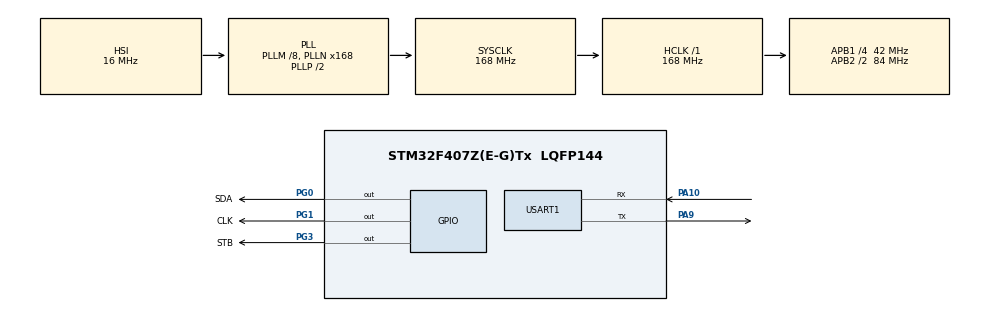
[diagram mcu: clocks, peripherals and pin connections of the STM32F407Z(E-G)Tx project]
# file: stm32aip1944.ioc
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Mcu.Family=STM32F4
Mcu.Name=STM32F407Z(E-G)Tx
Mcu.Package=LQFP144
NVIC.PriorityGroup=NVIC_PRIORITYGROUP_4
PA10.Mode=Asynchronous
PA10.Signal=USART1_RX
PA13.Mode=Serial_Wire
PA13.Signal=SYS_JTMS-SWDIO
PA14.Mode=Serial_Wire
PA14.Signal=SYS_JTCK-SWCLK
PA9.Mode=Asynchronous
PA9.Signal=USART1_TX
PG0.GPIO_Label=SDA
PG0.GPIO_ModeDefaultOutputPP=GPIO_MODE_OUTPUT_OD
PG0.GPIO_PuPd=GPIO_NOPULL
PG0.GPIO_Speed=GPIO_SPEED_FREQ_VERY_HIGH
PG0.PinState=GPIO_PIN_RESET
PG0.Signal=GPIO_Output
PG1.GPIO_Label=CLK
PG1.GPIO_ModeDefaultOutputPP=GPIO_MODE_OUTPUT_OD
PG1.GPIO_PuPd=GPIO_NOPULL
PG1.GPIO_Speed=GPIO_SPEED_FREQ_VERY_HIGH
PG1.PinState=GPIO_PIN_RESET
PG1.Signal=GPIO_Output
PG3.GPIO_Label=STB
PG3.GPIO_ModeDefaultOutputPP=GPIO_MODE_OUTPUT_OD
PG3.GPIO_PuPd=GPIO_NOPULL
PG3.GPIO_Speed=GPIO_SPEED_FREQ_VERY_HIGH
PG3.Signal=GPIO_Output
PH0-OSC_IN.Mode=HSE-External-Oscillator
PH0-OSC_IN.Signal=RCC_OSC_IN
PH1-OSC_OUT.Mode=HSE-External-Oscillator
PH1-OSC_OUT.Signal=RCC_OSC_OUT
ProjectManager.HeapSize=0x200
ProjectManager.StackSize=0x400
ProjectManager.TargetToolchain=MDK-ARM V5.32
RCC.48MHZClocksFreq_Value=84000000
RCC.AHBFreq_Value=168000000
RCC.APB1CLKDivider=RCC_HCLK_DIV4
RCC.APB1Freq_Value=42000000
RCC.APB1TimFreq_Value=84000000
RCC.APB2CLKDivider=RCC_HCLK_DIV2
RCC.APB2Freq_Value=84000000
RCC.APB2TimFreq_Value=168000000
RCC.CortexFreq_Value=168000000
RCC.HCLKFreq_Value=168000000
RCC.HSE_VALUE=25000000
RCC.HSI_VALUE=16000000
RCC.LSE_VALUE=32768
RCC.PLLM=8
RCC.PLLN=168
RCC.SYSCLKFreq_VALUE=168000000
RCC.SYSCLKSource=RCC_SYSCLKSOURCE_PLLCLK
RCC.VCOOutputFreq_Value=336000000
USART1.VirtualMode=VM_ASYNC
board=custom

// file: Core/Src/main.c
/* USER CODE BEGIN Header */
/**
  ******************************************************************************
  * @file           : main.c
  * @brief          : Main program body
  ******************************************************************************
  * @attention
  *
  * Copyright (c) 2024 STMicroelectronics.
  * All rights reserved.
  *
  * This software is licensed under terms that can be found in the LICENSE file
  * in the root directory of this software component.
  * If no LICENSE file comes with this software, it is provided AS-IS.
  *
  ******************************************************************************
  */
/* USER CODE END Header */
#include "main.h"
#include "usart.h"
#include "gpio.h"

/* USER CODE BEGIN Includes */
#include "stdio.h"
#include "stm32_tm1637.h"
#include "aip.h"
/* USER CODE END Includes */

/* USER CODE BEGIN PTD */
/**
  * 函数功能: 重定向c库函数printf到DEBUG_USARTx
  * 输入参数: 无
  * 返 回 值: 无
  * 说    明：无
  */
int fputc(int ch, FILE *f)
{
  HAL_UART_Transmit(&huart1, (uint8_t *)&ch, 1, 0xffff);
  return ch;
}

/**
  * 函数功能: 重定向c库函数getchar,scanf到DEBUG_USARTx
  * 输入参数: 无
  * 返 回 值: 无
  * 说    明：无
  */
int fgetc(FILE *f)
{
  uint8_t ch = 0;
  HAL_UART_Receive(&huart1, &ch, 1, 0xffff);
  return ch;
}

unsigned char buf[4] = {1, 2, 3, 0xff};
/* USER CODE END PTD */

void SystemClock_Config(void);

int main(void)
{

  /* MCU Configuration--------------------------------------------------------*/

  /* Reset of all peripherals, Initializes the Flash interface and the Systick. */
  HAL_Init();

  /* Configure the system clock */
  SystemClock_Config();

  /* Initialize all configured peripherals */
  MX_GPIO_Init();
  MX_USART1_UART_Init();
  /* USER CODE BEGIN 2 */

    AIP1944_Init();
    int num = 0;

  //tm1637_init(&tm, CLK1_GPIO_Port, CLK1_Pin, DIO1_GPIO_Port, DIO1_Pin);
  //AIP1944_Fixed_Add();
  /* USER CODE END 2 */

  /* Infinite loop */
  while (1)
  {

    /* USER CODE BEGIN 3 */
      AIP_DECIMAL_XXXX(num++);
      HAL_Delay(100);

  }
  /* USER CODE END 3 */
}

void SystemClock_Config(void)
{
  RCC_OscInitTypeDef RCC_OscInitStruct = {0};
  RCC_ClkInitTypeDef RCC_ClkInitStruct = {0};

  /** Configure the main internal regulator output voltage
  */
  __HAL_RCC_PWR_CLK_ENABLE();
  __HAL_PWR_VOLTAGESCALING_CONFIG(PWR_REGULATOR_VOLTAGE_SCALE1);

  /** Initializes the RCC Oscillators according to the specified parameters
  * in the RCC_OscInitTypeDef structure.
  */
  RCC_OscInitStruct.OscillatorType = RCC_OSCILLATORTYPE_HSI;
  RCC_OscInitStruct.HSIState = RCC_HSI_ON;
  RCC_OscInitStruct.HSICalibrationValue = RCC_HSICALIBRATION_DEFAULT;
  RCC_OscInitStruct.PLL.PLLState = RCC_PLL_ON;
  RCC_OscInitStruct.PLL.PLLSource = RCC_PLLSOURCE_HSI;
  RCC_OscInitStruct.PLL.PLLM = 8;
  RCC_OscInitStruct.PLL.PLLN = 168;
  RCC_OscInitStruct.PLL.PLLP = RCC_PLLP_DIV2;
  RCC_OscInitStruct.PLL.PLLQ = 4;
  if (HAL_RCC_OscConfig(&RCC_OscInitStruct) != HAL_OK)
  {
    Error_Handler();
  }

  /** Initializes the CPU, AHB and APB buses clocks
  */
  RCC_ClkInitStruct.ClockType = RCC_CLOCKTYPE_HCLK|RCC_CLOCKTYPE_SYSCLK
                              |RCC_CLOCKTYPE_PCLK1|RCC_CLOCKTYPE_PCLK2;
  RCC_ClkInitStruct.SYSCLKSource = RCC_SYSCLKSOURCE_PLLCLK;
  RCC_ClkInitStruct.AHBCLKDivider = RCC_SYSCLK_DIV1;
  RCC_ClkInitStruct.APB1CLKDivider = RCC_HCLK_DIV4;
  RCC_ClkInitStruct.APB2CLKDivider = RCC_HCLK_DIV2;

  if (HAL_RCC_ClockConfig(&RCC_ClkInitStruct, FLASH_LATENCY_5) != HAL_OK)
  {
    Error_Handler();
  }
}

void Error_Handler(void)
{
  __disable_irq();
  while (1)
  {
  }
}
